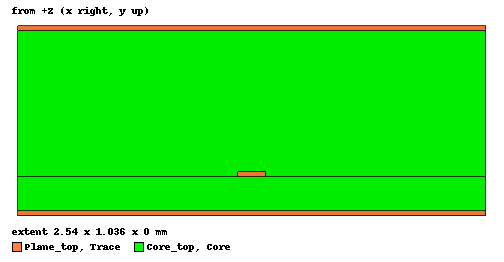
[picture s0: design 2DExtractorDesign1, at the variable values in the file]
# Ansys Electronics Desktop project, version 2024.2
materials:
  vacuum: permittivity=1
  copper: permeability=0.999991 conductivity=58000000
  die_38: permittivity=3.8 dielectric_loss_tangent=0.02

design 2DExtractorDesign1 (2D Extractor, Open, model units mm)
options: LumpedLength=1in RiseTime=1ns DistribLengthUnits=in Calculate_Lossy_Dielectrics
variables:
  wp = 100mil
  wt = 6mil
  sub = 7.2mil
  T = 1.2mil
  gap = 18mil
  sub_top = 30mil
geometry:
  Plane = rectangle(corner=(-wp/2, 0mm, 0mm), x_size=wp, y_size=T)
  Core [die_38] = rectangle(corner=(-wp/2, T, 0mm), x_size=wp, y_size=sub)
  Trace [copper] = rectangle(corner=(-wt/2, T+sub, 0mm), x_size=wt, y_size=T)
  Core_top [die_38] = rectangle(corner=(-wp/2, T+sub, 0mm), x_size=wp, y_size=T+sub_top)
  Plane_top [copper] = rectangle(corner=(-wp/2, T+sub+T+sub_top, 0mm), x_size=wp, y_size=T)
  Plane_top.unite(Plane)
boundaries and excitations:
  Trace: SignalLine Objects=Trace SolveOption=SolveInside Thickness=-1000mm
  Plane_top: ReferenceGround Objects=Plane_top SolveOption=SolveInside Thickness=-1000mm
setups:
  Setup1: 2DMatrix AdaptiveFreq=50MHz SaveFields CGDataBlock{MaxPass=50 MinPass=1 MinConvPass=2 PerError=1 PerRefine=30 Included PerErrorParamConv=1} RLDataBlock{MaxPass=50 MinPass=1 MinConvPass=2 PerError=1 PerRefine=30 Included PerErrorParamConv=1}
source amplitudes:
  Trace: CG Fields 1V 0deg
  Trace: RL Fields 1A 0deg
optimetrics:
  ParametricSetup1: Parametric Sim._Setups=[Setup1]
    sweep gap: LIN 6mil 18mil 1mil
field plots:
  Jrl1: J over Trace on Setup1 : LastAdaptive at Freq=0.05GHz Phase=0deg
  Jrl2: Jp over Plane_top on Setup1 : LastAdaptive at Freq=50MHz Phase=180deg
